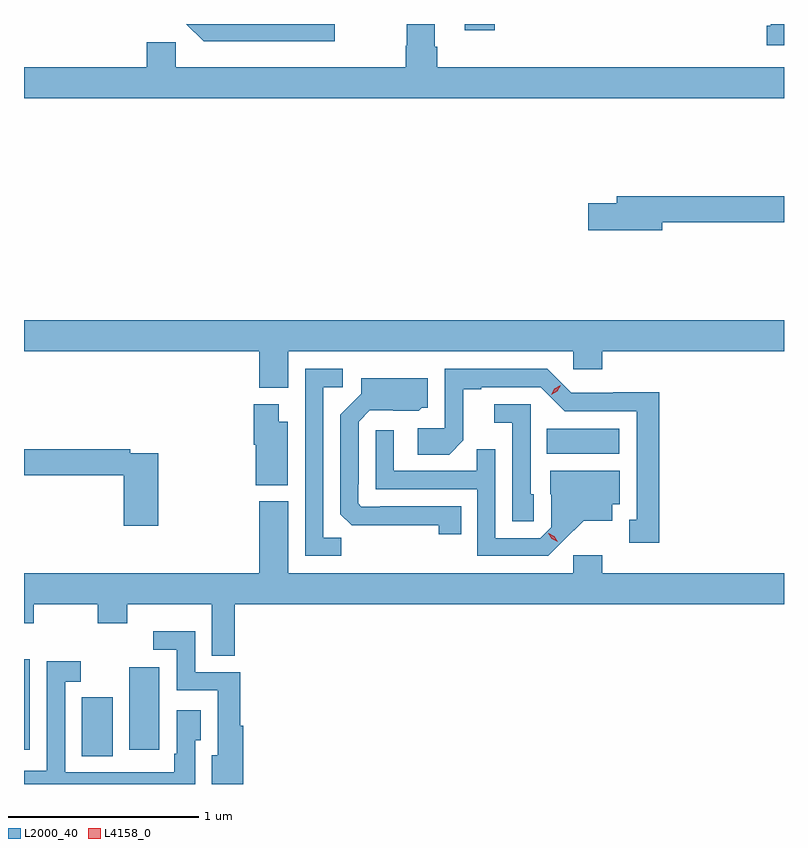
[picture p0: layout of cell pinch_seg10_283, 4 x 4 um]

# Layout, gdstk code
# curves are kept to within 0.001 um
import gdstk
lib = gdstk.Library(unit=1e-6, precision=1e-09)
def R(c, l, rs):  # rectangles x0, y0, x1, y1
    for r in rs: c.add(gdstk.rectangle(r[:2], r[2:], *l))
def P(c, l, *ps):  # polygons
    for p in ps: c.add(gdstk.Polygon(p, *l))
L2000_40 = (2000, 40)
L4158_0 = (4158, 0)

pinch_seg10_283 = lib.new_cell('pinch_seg10_283')
R(pinch_seg10_283, L2000_40, [(489.899,1291.525,490.06,1291.836), (489.594,1291.56,489.625,1292.035), (490.148,1291.56,490.306,1291.993), (492.346,1293.116,492.727,1293.25), (491.915,1295.346,492.071,1295.379)])
P(pinch_seg10_283, L2000_40, [(493.594,1295.152),(491.768,1295.152),(491.768,1295.258),(491.755,1295.258),(491.755,1295.379),(491.608,1295.379),(491.608,1295.265),(491.603,1295.265),(491.603,1295.152),(490.392,1295.152),(490.392,1295.284),(490.241,1295.284),(490.241,1295.152),(489.594,1295.152),(489.594,1294.988),(493.594,1294.988)],
  [(491.23,1295.379),(490.449,1295.379),(490.54,1295.288),(491.23,1295.288)],
  [(493.594,1295.379),(493.523,1295.379),(493.523,1295.371),(493.502,1295.371),(493.502,1295.267),(493.594,1295.267)],
  [(492.952,1294.336),(493.594,1294.336),(493.594,1294.472),(492.713,1294.472),(492.713,1294.436),(492.564,1294.436),(492.564,1294.294),(492.952,1294.294)],
  [(490.984,1293.656),(492.486,1293.656),(492.486,1293.563),(492.638,1293.563),(492.638,1293.656),(493.594,1293.656),(493.594,1293.82),(489.594,1293.82),(489.594,1293.656),(490.832,1293.656),(490.832,1293.464),(490.984,1293.464)],
  [(492.937,1293.44),(492.696,1293.44),(492.696,1293.438),(492.474,1293.438),(492.348,1293.564),(491.808,1293.564),(491.808,1293.252),(491.667,1293.252),(491.667,1293.112),(491.831,1293.112),(491.907,1293.188),(491.907,1293.456),(492.001,1293.456),(492.001,1293.468),(492.315,1293.468),(492.441,1293.342),(492.818,1293.342),(492.818,1292.769),(492.779,1292.769),(492.779,1292.649),(492.937,1292.649)],
  [(491.265,1292.675),(491.169,1292.675),(491.169,1293.468),(491.272,1293.468),(491.272,1293.564),(491.073,1293.564),(491.073,1292.58),(491.265,1292.58)],
  [(491.894,1292.841),(491.47,1292.841),(491.47,1292.838),(491.37,1292.838),(491.352,1292.856),(491.352,1292.956),(491.355,1292.956),(491.355,1293.285),(491.415,1293.345),(491.672,1293.344),(491.688,1293.36),(491.719,1293.36),(491.719,1293.514),(491.369,1293.514),(491.369,1293.432),(491.259,1293.322),(491.259,1292.8),(491.318,1292.741),(491.776,1292.74),(491.776,1292.694),(491.894,1292.694)],
  [(490.981,1293.286),(490.936,1293.286),(490.936,1293.379),(490.802,1293.379),(490.802,1293.165),(490.814,1293.165),(490.814,1292.951),(490.981,1292.951)],
  [(492.276,1292.904),(492.261,1292.904),(492.261,1293.378),(492.069,1293.378),(492.069,1293.281),(492.165,1293.281),(492.165,1292.761),(492.276,1292.761)],
  [(492.436,1292.663),(492.539,1292.765),(492.691,1292.765),(492.691,1292.852),(492.73,1292.852),(492.73,1293.028),(492.365,1293.028),(492.365,1292.904),(492.369,1292.904),(492.369,1292.73),(492.312,1292.673),(492.075,1292.673),(492.075,1293.14),(491.977,1293.14),(491.977,1293.027),(491.541,1293.027),(491.541,1293.241),(491.445,1293.241),(491.445,1292.931),(491.979,1292.931),(491.979,1292.58),(492.352,1292.58)],
  [(490.301,1293.12),(490.154,1293.12),(490.154,1293.14),(489.594,1293.14),(489.594,1293.004),(490.118,1293.004),(490.118,1292.739),(490.301,1292.739)],
  [(490.702,1292.324),(493.594,1292.324),(493.594,1292.488),(492.638,1292.488),(492.638,1292.584),(492.486,1292.584),(492.486,1292.488),(490.984,1292.488),(490.984,1292.866),(490.832,1292.866),(490.832,1292.488),(489.594,1292.488),(489.594,1292.225),(489.645,1292.225),(489.645,1292.324),(489.982,1292.324),(489.982,1292.225),(490.137,1292.225),(490.137,1292.324),(490.583,1292.324),(490.583,1292.053),(490.702,1292.053)],
  [(490.748,1291.686),(490.732,1291.686),(490.732,1291.968),(490.494,1291.968),(490.494,1292.182),(490.275,1292.182),(490.275,1292.085),(490.398,1292.085),(490.398,1291.872),(490.613,1291.872),(490.613,1291.531),(490.583,1291.531),(490.583,1291.379),(490.748,1291.379)],
  [(490.494,1291.609),(490.525,1291.609),(490.525,1291.768),(490.398,1291.768),(490.398,1291.537),(490.386,1291.537),(490.386,1291.44),(489.81,1291.44),(489.81,1291.917),(489.892,1291.917),(489.892,1292.026),(489.714,1292.026),(489.714,1291.45),(489.594,1291.45),(489.594,1291.379),(490.494,1291.379)])
P(pinch_seg10_283, L4158_0, [(492.369,1293.427),(492.369,1293.427),(492.386,1293.46),(492.418,1293.479),(492.418,1293.479),(492.418,1293.479),(492.401,1293.446),(492.37,1293.427)],
  [(492.402,1292.654),(492.371,1292.669),(492.354,1292.699),(492.354,1292.699),(492.355,1292.699),(492.385,1292.684),(492.402,1292.654),(492.402,1292.654)])

lib.write_gds('pinch_seg10_283.gds')
